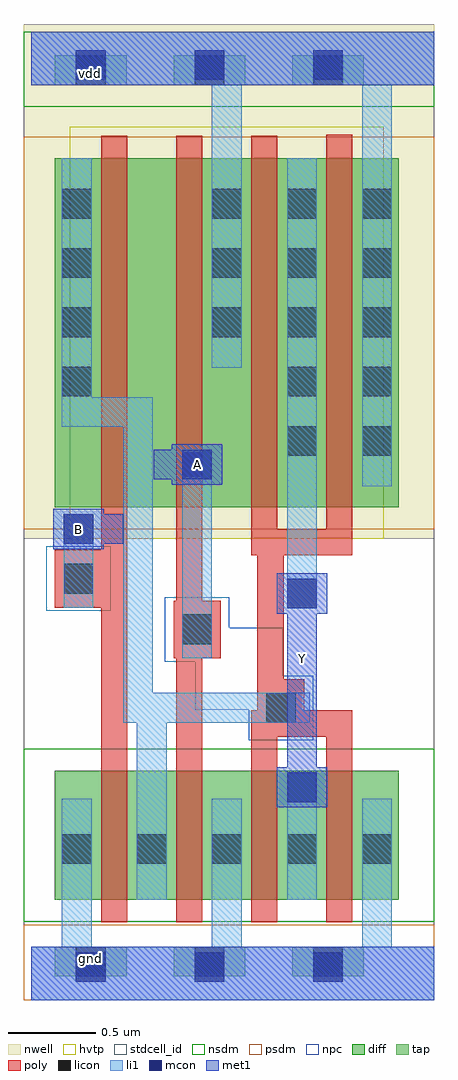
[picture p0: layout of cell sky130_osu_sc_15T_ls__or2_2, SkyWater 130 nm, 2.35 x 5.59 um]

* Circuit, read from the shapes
.subckt sky130_osu_sc_15T_ls__or2_2 A B Y gnd vdd
XM1 n1 B gnd gnd sky130_fd_pr__nfet_01v8 w=0.74 l=0.15
XM2 gnd A n1 gnd sky130_fd_pr__nfet_01v8 w=0.74 l=0.15
XM3 Y n1 gnd gnd sky130_fd_pr__nfet_01v8 w=0.74 l=0.15 m=2
XM4 n2 B n1 vdd sky130_fd_pr__pfet_01v8_hvt w=2 l=0.15
XM5 vdd A n2 vdd sky130_fd_pr__pfet_01v8_hvt w=2 l=0.15
XM6 Y n1 vdd vdd sky130_fd_pr__pfet_01v8_hvt w=2 l=0.15 m=2
.ends

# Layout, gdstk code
import gdstk
lib = gdstk.Library(unit=1e-6, precision=1e-09)
def R(c, l, rs):  # rectangles x0, y0, x1, y1
    for r in rs: c.add(gdstk.rectangle(r[:2], r[2:], *l))
def A(c, l, x, y, w, h, nx, ny, dx, dy):  # array of equal rectangles
    R(c, l, [(x+i*dx, y+j*dy, x+i*dx+w, y+j*dy+h) for i in range(nx) for j in range(ny)])
nwell = (64, 20)
diff = (65, 20)
tap = (65, 44)
poly = (66, 20)
licon = (66, 44)
li1 = (67, 20)
mcon = (67, 44)
met1 = (68, 20)
hvtp = (78, 44)
stdcell_id = (81, 4)
nsdm = (93, 44)
psdm = (94, 20)
npc = (95, 20)

sky130_osu_sc_15t_ls__or = lib.new_cell('sky130_osu_sc_15T_ls__or2_2')
R(sky130_osu_sc_15t_ls__or, nwell, [(-0.045,2.645,2.31,5.595)])
R(sky130_osu_sc_15t_ls__or, diff, [(0.135,0.575,2.105,1.315), (0.135,2.825,2.105,4.825)])
A(sky130_osu_sc_15t_ls__or, tap, 0.135, 0.135, 0.41, 0.17, 3, 2, 0.68, 5.11)
R(sky130_osu_sc_15t_ls__or, poly, [(0.4,0.445,0.55,2.25), (0.83,0.445,0.98,1.96), (1.26,0.445,1.41,1.51), (1.69,0.445,1.84,1.51), (1.26,1.51,1.84,1.66), (1.295,1.66,1.565,1.84), (1.295,1.84,1.445,2.55), (0.815,1.96,1.085,2.29), (0.135,2.25,0.55,2.58), (0.83,2.29,0.98,4.955), (1.26,2.55,1.84,2.7), (0.4,2.58,0.55,4.955), (1.26,2.7,1.41,4.955), (1.69,2.7,1.84,4.96)])
A(sky130_osu_sc_15t_ls__or, licon, 0.255, 0.135, 0.17, 0.17, 3, 2, 0.68, 5.11)
A(sky130_osu_sc_15t_ls__or, licon, 0.175, 0.78, 0.17, 0.17, 5, 1, 0.43, 0)
A(sky130_osu_sc_15t_ls__or, licon, 0.175, 3.46, 0.17, 0.17, 1, 4, 0, 0.34)
A(sky130_osu_sc_15t_ls__or, licon, 1.035, 3.8, 0.17, 0.17, 3, 3, 0.43, 0.34)
R(sky130_osu_sc_15t_ls__or, licon, [(1.345,1.59,1.515,1.76), (0.865,2.04,1.035,2.21), (0.185,2.33,0.355,2.5), (1.465,3.12,1.635,3.29), (1.895,3.12,2.065,3.29), (1.465,3.46,1.635,3.63), (1.895,3.46,2.065,3.63)])
A(sky130_osu_sc_15t_ls__or, li1, 0.175, 0.305, 0.17, 0.85, 3, 1, 0.86, 0)
R(sky130_osu_sc_15t_ls__or, li1, [(0,0,2.31,0.305), (0.605,0.575,0.775,1.59), (1.465,0.575,1.635,1.305), (0.525,1.59,1.595,1.76), (0.525,1.76,0.695,3.285), (0.865,1.96,1.035,3.155), (1.465,2.245,1.635,4.825), (0.185,2.25,0.355,2.785), (1.895,2.945,2.065,5.245), (0.175,3.285,0.695,3.455), (0.175,3.455,0.345,4.825), (1.035,3.625,1.205,5.245), (0,5.245,2.31,5.55)])
A(sky130_osu_sc_15t_ls__or, mcon, 0.255, 0.105, 0.17, 0.17, 3, 2, 0.68, 5.17)
R(sky130_osu_sc_15t_ls__or, mcon, [(1.465,1.135,1.635,1.305), (1.465,2.245,1.635,2.415), (0.185,2.615,0.355,2.785), (0.865,2.985,1.035,3.155)])
R(sky130_osu_sc_15t_ls__or, met1, [(0,0,2.31,0.305), (1.405,1.105,1.695,1.335), (1.465,1.335,1.635,2.215), (1.405,2.215,1.695,2.445), (0.125,2.585,0.415,2.615), (0.125,2.615,0.525,2.785), (0.125,2.785,0.415,2.815), (0.805,2.955,1.095,2.985), (0.7,2.985,1.095,3.155), (0.805,3.155,1.095,3.185), (0,5.245,2.31,5.55)])
R(sky130_osu_sc_15t_ls__or, hvtp, [(0.22,2.645,2.02,5.005)])
R(sky130_osu_sc_15t_ls__or, stdcell_id, [(-0.045,0,2.31,5.55)])
R(sky130_osu_sc_15t_ls__or, nsdm, [(-0.045,0.45,2.31,1.44), (-0.045,5.12,2.31,5.55)])
R(sky130_osu_sc_15t_ls__or, psdm, [(-0.045,0,2.31,0.43), (-0.045,2.7,2.31,4.95)])
R(sky130_osu_sc_15t_ls__or, npc, [(1.245,1.49,1.615,1.665), (0.94,1.665,1.615,1.86), (0.94,1.86,1.44,1.94), (0.765,1.94,1.44,2.135), (0.765,2.135,1.135,2.31), (0.085,2.23,0.455,2.6)])
sky130_osu_sc_15t_ls__or.add(gdstk.Label('gnd', (0.34,0.24), layer=68, texttype=16))
sky130_osu_sc_15t_ls__or.add(gdstk.Label('vdd', (0.34,5.31), layer=68, texttype=16))
sky130_osu_sc_15t_ls__or.add(gdstk.Label('Y', (1.555,1.96), layer=68, texttype=5))
sky130_osu_sc_15t_ls__or.add(gdstk.Label('A', (0.95,3.07), layer=68, texttype=5))
sky130_osu_sc_15t_ls__or.add(gdstk.Label('B', (0.27,2.7), layer=68, texttype=5))

lib.write_gds('sky130_osu_sc_15T_ls__or2_2.gds')
